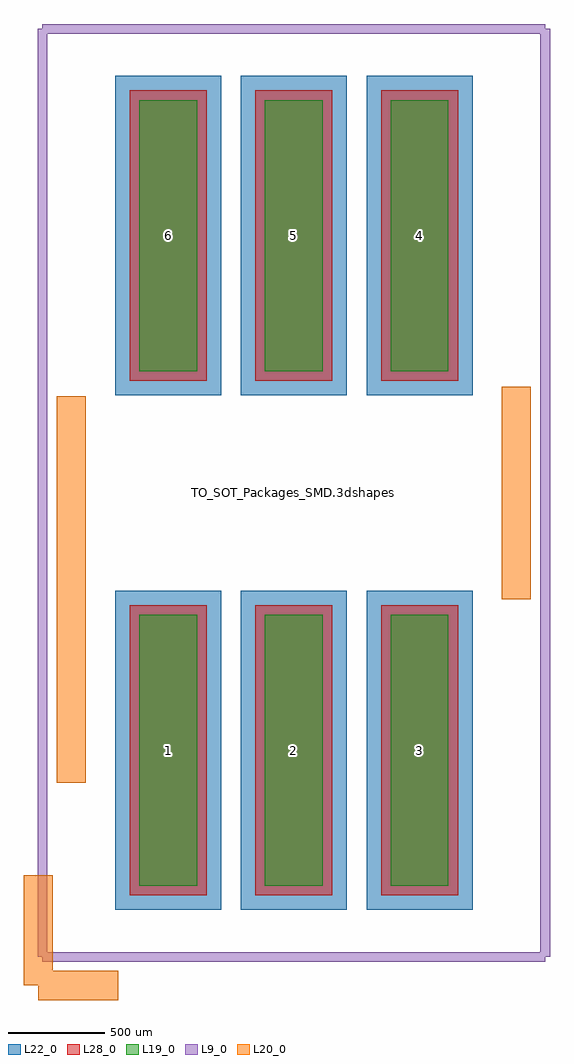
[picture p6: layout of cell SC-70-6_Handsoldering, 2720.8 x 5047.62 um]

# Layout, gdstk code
import gdstk
lib = gdstk.Library(unit=1e-6, precision=1e-09)
def R(c, l, rs):  # rectangles x0, y0, x1, y1
    for r in rs: c.add(gdstk.rectangle(r[:2], r[2:], *l))
def A(c, l, x, y, w, h, nx, ny, dx, dy):  # array of equal rectangles
    R(c, l, [(x+i*dx, y+j*dy, x+i*dx+w, y+j*dy+h) for i in range(nx) for j in range(ny)])
L9_0 = (9, 0)
L19_0 = (19, 0)
L20_0 = (20, 0)
L22_0 = (22, 0)
L28_0 = (28, 0)

sc_70_6_handsoldering = lib.new_cell('SC-70-6_Handsoldering')
A(sc_70_6_handsoldering, L19_0, -799.63, -2031.53, 298.78, 1401.14, 3, 2, 650.24, 2661.92)
A(sc_70_6_handsoldering, L22_0, -924.63, -2156.53, 548.78, 1651.14, 3, 2, 650.24, 2661.92)
A(sc_70_6_handsoldering, L28_0, -849.63, -2081.53, 398.78, 1501.14, 3, 2, 650.24, 2661.92)
sc_70_6_handsoldering.add(gdstk.FlexPath([(-1320.8,-2547.62),(-909.32,-2547.62)], 149.998, ends="flush", simple_path=True, layer=20, datatype=0))  # L20_0
sc_70_6_handsoldering.add(gdstk.FlexPath([(-1320.8,-1978.66),(-1320.8,-2547.62)], 149.998, ends="flush", simple_path=True, layer=20, datatype=0))  # L20_0
sc_70_6_handsoldering.add(gdstk.FlexPath([(-1150,500),(-1150,-1500)], 149.998, ends="flush", simple_path=True, layer=20, datatype=0))  # L20_0
sc_70_6_handsoldering.add(gdstk.FlexPath([(1150,550),(1150,-550)], 149.998, ends="flush", simple_path=True, layer=20, datatype=0))  # L20_0
sc_70_6_handsoldering.add(gdstk.FlexPath([(1300,2400),(-1300,2400)], 50, ends="flush", simple_path=True, layer=9, datatype=0))  # L9_0
sc_70_6_handsoldering.add(gdstk.FlexPath([(-1300,2400),(-1300,-2400)], 50, ends="flush", simple_path=True, layer=9, datatype=0))  # L9_0
sc_70_6_handsoldering.add(gdstk.FlexPath([(-1300,-2400),(1300,-2400)], 50, ends="flush", simple_path=True, layer=9, datatype=0))  # L9_0
sc_70_6_handsoldering.add(gdstk.FlexPath([(1300,-2400),(1300,2400)], 50, ends="flush", simple_path=True, layer=9, datatype=0))  # L9_0
sc_70_6_handsoldering.add(gdstk.Label('TO_SOT_Packages_SMD.3dshapes/SC-70-6_Handsoldering.wrl', (0,0), layer=12, texttype=0))
sc_70_6_handsoldering.add(gdstk.Label('6', (-650.24,1330.96), layer=28, texttype=0))
sc_70_6_handsoldering.add(gdstk.Label('5', (0,1330.96), layer=28, texttype=0))
sc_70_6_handsoldering.add(gdstk.Label('4', (650.24,1330.96), layer=28, texttype=0))
sc_70_6_handsoldering.add(gdstk.Label('3', (650.24,-1330.96), layer=28, texttype=0))
sc_70_6_handsoldering.add(gdstk.Label('2', (0,-1330.96), layer=28, texttype=0))
sc_70_6_handsoldering.add(gdstk.Label('1', (-650.24,-1330.96), layer=28, texttype=0))
sc_70_6_handsoldering.add(gdstk.Label('type', (0,-3500), layer=9, texttype=0))
sc_70_6_handsoldering.add(gdstk.Label('devicename', (0,3000), layer=9, texttype=0))

lib.write_gds('SC-70-6_Handsoldering.gds')
